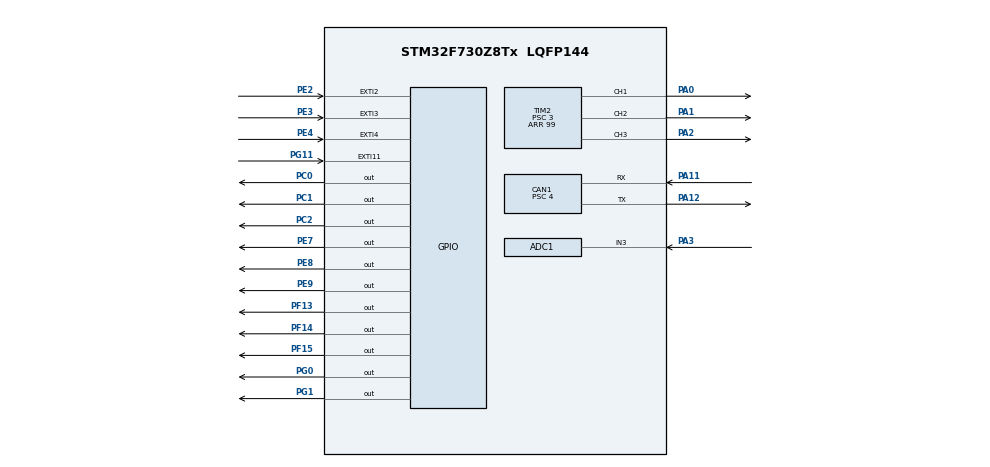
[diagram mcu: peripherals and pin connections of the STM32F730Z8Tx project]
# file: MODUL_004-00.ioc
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ADC1.Channel-0\#ChannelRegularConversion=ADC_CHANNEL_3
ADC1.NbrOfConversionFlag=1
ADC1.Rank-0\#ChannelRegularConversion=1
ADC1.SamplingTime-0\#ChannelRegularConversion=ADC_SAMPLETIME_3CYCLES
ADC1.master=1
CAN1.BS1=CAN_BS1_13TQ
CAN1.BS2=CAN_BS2_2TQ
CAN1.CalculateBaudRate=250000
CAN1.CalculateTimeBit=4000
CAN1.CalculateTimeQuantum=250.0
CAN1.Prescaler=4
Mcu.Family=STM32F7
Mcu.Name=STM32F730Z8Tx
Mcu.Package=LQFP144
NVIC.CAN1_RX0_IRQn=true\:0\:0\:false\:false\:true\:true\:true\:true
NVIC.CAN1_TX_IRQn=true\:0\:0\:false\:false\:true\:true\:true\:true
NVIC.EXTI15_10_IRQn=true\:6\:0\:true\:false\:true\:true\:true\:true
NVIC.EXTI2_IRQn=true\:3\:0\:true\:false\:true\:true\:true\:true
NVIC.EXTI3_IRQn=true\:3\:0\:true\:false\:true\:true\:true\:true
NVIC.EXTI4_IRQn=true\:3\:0\:true\:false\:true\:true\:true\:true
NVIC.PriorityGroup=NVIC_PRIORITYGROUP_4
PA0-WKUP.Signal=S_TIM2_CH1_ETR
PA1.Signal=S_TIM2_CH2
PA11.Mode=CAN_Activate
PA11.Signal=CAN1_RX
PA12.Mode=CAN_Activate
PA12.Signal=CAN1_TX
PA13.Mode=Serial_Wire
PA13.Signal=SYS_JTMS-SWDIO
PA14.Mode=Serial_Wire
PA14.Signal=SYS_JTCK-SWCLK
PA2.Signal=S_TIM2_CH3
PA3.Signal=ADCx_IN3
PC0.Signal=GPIO_Output
PC1.Signal=GPIO_Output
PC2.Signal=GPIO_Output
PE2.GPIO_ModeDefaultEXTI=GPIO_MODE_IT_RISING_FALLING
PE2.Signal=GPXTI2
PE3.GPIO_ModeDefaultEXTI=GPIO_MODE_IT_RISING_FALLING
PE3.Signal=GPXTI3
PE4.GPIO_ModeDefaultEXTI=GPIO_MODE_IT_RISING_FALLING
PE4.Signal=GPXTI4
PE7.Signal=GPIO_Output
PE8.Signal=GPIO_Output
PE9.Signal=GPIO_Output
PF13.Signal=GPIO_Output
PF14.Signal=GPIO_Output
PF15.Signal=GPIO_Output
PG0.Signal=GPIO_Output
PG1.Signal=GPIO_Output
PG11.GPIO_PuPd=GPIO_PULLUP
PG11.Signal=GPXTI11
ProjectManager.HeapSize=0x200
ProjectManager.StackSize=0x400
ProjectManager.TargetToolchain=STM32CubeIDE
RCC.HSE_VALUE=25000000
RCC.HSI_VALUE=16000000
RCC.LSE_VALUE=32768
RCC.USBFreq_Value=96000000
RCC.VCOOutputFreq_Value=192000000
SH.ADCx_IN3.0=ADC1_IN3,IN3
SH.S_TIM2_CH1_ETR.0=TIM2_CH1,PWM Generation1 CH1
SH.S_TIM2_CH2.0=TIM2_CH2,PWM Generation2 CH2
SH.S_TIM2_CH3.0=TIM2_CH3,PWM Generation3 CH3
TIM2.Channel-PWM\ Generation1\ CH1=TIM_CHANNEL_1
TIM2.Channel-PWM\ Generation2\ CH2=TIM_CHANNEL_2
TIM2.Channel-PWM\ Generation3\ CH3=TIM_CHANNEL_3
TIM2.Period=99
TIM2.Prescaler=3
TIM3.Period=99
TIM3.Prescaler=15999
TIM4.Period=9999
TIM4.Prescaler=1599
TIM5.Period=3999999
TIM5.Prescaler=1
VP_TIM2_VS_ClockSourceINT.Mode=Internal
VP_TIM3_VS_ClockSourceINT.Mode=Internal
VP_TIM4_VS_ClockSourceINT.Mode=Internal
VP_TIM5_VS_ClockSourceINT.Mode=Internal
board=custom

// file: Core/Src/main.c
/* USER CODE BEGIN Header */
/**
  ******************************************************************************
  * @file           : main.c
  * @brief          : Main program body
  ******************************************************************************
  * @attention
  *
  * Copyright (c) 2025 STMicroelectronics.
  * All rights reserved.
  *
  * This software is licensed under terms that can be found in the LICENSE file
  * in the root directory of this software component.
  * If no LICENSE file comes with this software, it is provided AS-IS.
  *
  ******************************************************************************
  */
/* USER CODE END Header */
#include "main.h"
#include "adc.h"
#include "can.h"
#include "tim.h"
#include "gpio.h"

/* USER CODE BEGIN Includes */

#include "stm32f7xx_it.h"
/* USER CODE END Includes */

/* USER CODE BEGIN PD */

#define Default_PWM_value 0
#define Default_actuator_status 0b00100010
#define Default_PWM_scale_max 4000
#define Default_PWM_scale_min 100

/* USER CODE END PD */

/* USER CODE BEGIN PV */

uint8_t sequence = 0;
uint8_t actuator_status = 0b00100010; //LSB - "is running" status, 2nd from last bit - "needs starting" status, 3rd from last bit - "PWM is present" status, 4th from last bit - "needs stopping" status, 5th from last bit - "actuator direction" status (normal = 1, reverse = 0), 6th from last bit - "turn of or on" - high on
uint8_t direction = 0b00000000; //LSB high --> current reverse direction
uint8_t coil_status = 0b00000000; //LSB - coil A, 2nd from last - coil B, 3rd from last - coil C
uint8_t coil_old_status = 0b00000000;
uint8_t last_change = 0b00000000; //from LSB to MSB ---> A-fall, A-rise, B-fall, B-rise, C-fall, C-rise

uint8_t digital_outputs = 0b00000000; //for 8 LED
uint8_t digital_old_outputs = 0b00000000; //used so that digital outputs change only if they need to

uint8_t tim_3_status = 0b00000000; //for communication - dont want transmit messages too fast - unused
uint8_t tim_4_status = 0b00000000; //for regulators - unused
uint8_t tim_5_status = 0b00000000; //MSB - timer on or off status, the rest is used for flags - used to count period between interrupts

uint16_t PWM_old_input = 0;
uint16_t PWM_input = 0; //PWM input
uint16_t PWM_value = 0; //scaled PWM input, desired PWM output (if regulators are present, they try to achieve that value)
uint16_t PWM_current_value = 0; //PWM output
uint16_t PWM_old_value = 0; //last PWM output
uint16_t ADC1_value; //ADC1 saves converted value inside this variable

uint32_t current = 0; //processed ADC1_value, in mA
uint32_t counter_1 = 0; //used to count time between interrupts (can be used to calculate speed if specs of actuator are know)
uint32_t counter_2 = 0; //used to count time between CAN bus messages - unused
uint32_t counter_3 = 0; //unused

uint32_t mils_current = 0; //ms counter for debouncing
uint32_t mils_old = 0;

//KTM CAN bus communication
uint8_t msg_flag = 0b00000000; // LSB - need to send data, 2nd from last - need to process received data, 3rd from last - there is received data, 4th from last - need to send request for data(not used on this module)

//KTM end
/* USER CODE END PV */

void SystemClock_Config(void);

/* USER CODE BEGIN 0 */

//KTM

//CAN bus Tx config
CAN_TxHeaderTypeDef TxHeader;
uint32_t TxMailBox;
uint8_t TxData[8] = {0};

//CAN bus Rx config
CAN_FilterTypeDef sFilterConfig;
CAN_RxHeaderTypeDef RxHeader;
uint8_t RxData[8] = {0};

void HAL_CAN_RxFifo0MsgPendingCallback(CAN_HandleTypeDef *hcan)
{
	HAL_CAN_GetRxMessage(hcan, CAN_RX_FIFO0, &RxHeader, RxData);

	msg_flag = msg_flag || 0b00000100; //when Rx interrupt is activated, change flag - there is data that needs to be processed

}

//KTM end

/* USER CODE END 0 */

int main(void)
{

  /* MCU Configuration--------------------------------------------------------*/

  /* Reset of all peripherals, Initializes the Flash interface and the Systick. */
  HAL_Init();

  /* Configure the system clock */
  SystemClock_Config();

  /* Initialize all configured peripherals */
  MX_GPIO_Init();
  MX_ADC1_Init();
  MX_CAN1_Init();
  MX_TIM2_Init();
  MX_TIM3_Init();
  MX_TIM4_Init();
  MX_TIM5_Init();
  /* USER CODE BEGIN 2 */

  //KTM
  HAL_CAN_Start(&hcan1);

  //CAN bus Tx config
  TxHeader.DLC = 8;
  TxHeader.IDE = CAN_ID_STD;
  TxHeader.RTR = CAN_RTR_DATA;
  TxHeader.StdId = 255;

  //CAN bus Rx config
  sFilterConfig.FilterBank = 0;
  sFilterConfig.FilterIdLow = 0;
  sFilterConfig.FilterIdHigh = 0;
  sFilterConfig.FilterMaskIdLow = 0;
  sFilterConfig.FilterMaskIdHigh = 0;
  sFilterConfig.FilterMode = CAN_FILTERMODE_IDMASK;
  sFilterConfig.FilterScale = CAN_FILTERSCALE_32BIT;
  sFilterConfig.FilterActivation = CAN_FILTER_ENABLE;
  sFilterConfig.FilterFIFOAssignment = CAN_FILTER_FIFO0;

  HAL_CAN_ConfigFilter(&hcan1, &sFilterConfig);
  HAL_CAN_ActivateNotification(&hcan1, CAN_IT_RX_FIFO1_MSG_PENDING);

  //KTM end

  /* USER CODE END 2 */

  /* Infinite loop */
  /* USER CODE BEGIN WHILE */
  while (1)
  {

	  //ADC get data
	  HAL_ADC_Start(&hadc1);
	  HAL_ADC_PollForConversion(&hadc1, 10); //do ADC every 10 ms

	  ADC1_value = HAL_ADC_GetValue(&hadc1);

	  //process ADC1 data
	  //reference voltage == 4096 milivolts
	  if (ADC1_value == 1650) //current sensor TCSM1123B5   --> 1.65V == 0A
	  {
		  current = 0;
	  }

	  //current sensor sensitivity == 150 mV/A
	  else if (ADC1_value > 1650)
	  {
		  current = (int)((float)((ADC1_value - 1650) * 1000) / 150); //current in mA
		  direction = direction && 0b11111110; //normal direction of current
	  }
	  else
	  {
		  current = (int)((float)((1650 - ADC1_value) * 1000) / 150); //current in mA
		  direction = direction || 0b00000001; //reverse direction of current
	  }

	  //KTM
	  //CAN bus data
	  //process CAN data
	  if (msg_flag >> 2) //there is unprocessed received data
	  {
		  if (RxData[0] >> 1) //last 4 bits of RxData[0] high ---> needs to send data
		  {
			  msg_flag = msg_flag || 0b00000001;
		  }

		  if (RxData[0] >> 5) //first 4 bits of RxData[0] high ---> there is received data
		  {
			  msg_flag = msg_flag || 0b00000010;
		  }

		  msg_flag = msg_flag &&11111011; //reset flag
	  }

	  if (msg_flag >> 1) //if there is received data, process it
	  {
		  if (RxData[1] >> 1) //actuator direction is set to normal
		  {
			  actuator_status = actuator_status || 0b00010000;
		  }
		  else //actuator direction is set to reverse
		  {
			  actuator_status = actuator_status && 0b11101111;
		  }

		  if (RxData[1] >> 5) //actuator is turned
		  {
			  actuator_status = actuator_status || 0b00100000;
		  }
		  else //actuator turned off
		  {
			  actuator_status = actuator_status && 0b11011111;
		  }

		  //PWM_input = 0;
		  PWM_input = RxData[6];
		  //PWM_input = PWM_input << 8;
		  //PWM_input = PWM_input || RxData[7]

		  msg_flag = msg_flag && 0b11111101; //there is no more need to process data
		  RxData[0] = 0; //set array to 0
		  RxData[1] = 0;
		  RxData[2] = 0;
		  RxData[3] = 0;
		  RxData[4] = 0;
		  RxData[5] = 0;
		  RxData[6] = 0;
		  RxData[7] = 0;
	  }

	  //KTM end

	  //process PWM
	  if (PWM_input != PWM_old_input) //there are changes to PWM_input value, recalculate
	  {
		  if (PWM_input < 100)
		  {
			  PWM_value = 0;
			  actuator_status = actuator_status && 0b11111011; //PWM is not present
			  actuator_status = actuator_status || 0b00001000; //actuator needs stopping
		  }

		  //if PWM is more than 100 then actuator status is set to running and PWM status is present
		  else if (PWM_input > 4000)
		  {
			  PWM_value = 100;
			  actuator_status = actuator_status || 0b00000101; //actuator is running and has PWM
		  }
		  else if (PWM_input > 4000)
		  {
			  PWM_value = (int)((float)((PWM_input-100)/3900)*100); // scale 100==0, 4000==100
			  actuator_status = actuator_status || 0b00000101; //actuator is running and has PWM
		  }
	  }

	  //actuator control

	  //running actuator
	  if ((actuator_status >> 2) && actuator_status && (actuator_status >> 5)) //actuator status is set to running, PWM is present and actuator is turned on
	  {
		  //start sequence
		  //does starting sequence until interrupts set "needs starting" status to low
		  if (actuator_status >> 1) //actuator needs starting
		  {
			  //start and reset timer 5 if not on
			  restart_tim_5();

			  //set coil B to GND and turn on PWM on coil A
			  if (last_change == 0b00000000)
			  {
				  AHigh_BLow(10); //PWM value is set to 10 (100max)
			  }
			  PWM_old_value = 10;
		  }

		  //running sequence
		  else
		  {
			  //regulator implementation
			  PWM_current_value = PWM_value;
			  //no regulator :)

			  if (!(actuator_status >> 4)) //normal direction
			  {
				  forward_sequence();
			  }
			  else //reverse direction
			  {
				  backward_sequence();
			  }

			  PWM_old_value = PWM_current_value;
		  }
	  }

	  //actuator is stopping
	  else if((actuator_status && (!(actuator_status >> 1)) && (!(actuator_status >> 2))) || (actuator_status && (!(actuator_status >> 5)))) //(actuator is running, doesnt need starting and PWM is not present) or (actuator is running but it is supposed to be turned off)
	  {
		  //disconnect power to actuator coils
		  __HAL_TIM_SET_COMPARE(&htim2, TIM_CHANNEL_1, 0); //PWM coil A
		  __HAL_TIM_SET_COMPARE(&htim2, TIM_CHANNEL_2, 0); //PWM coil B
		  __HAL_TIM_SET_COMPARE(&htim2, TIM_CHANNEL_3, 0); //PWM coil C

		  HAL_TIM_PWM_Start(&htim2, TIM_CHANNEL_1);
		  HAL_TIM_PWM_Start(&htim2, TIM_CHANNEL_2);
		  HAL_TIM_PWM_Start(&htim2, TIM_CHANNEL_3);

		  //connect actuator coils to GND
		  HAL_GPIO_WritePin(GPIOC, GPIO_PIN_0, 1); //GND coil A
		  HAL_GPIO_WritePin(GPIOC, GPIO_PIN_1, 1); //GND coil B
		  HAL_GPIO_WritePin(GPIOC, GPIO_PIN_2, 1); //GND coil C

		  PWM_old_value = 0;
	  }

	  //actuator is not active
	  else
	  {
		  if ((tim_5_status >> 7) && (!tim_5_status)) //if timer 5 is on and flag is not set
		  {
			  //0.5s after it stopped moving
			  if (__HAL_TIM_GET_COUNTER(&htim5) == htim5.Init.Period)
			  {
				  actuator_status = actuator_status && 0b11111110; //change actuator status "is running" status to low
				  actuator_status = actuator_status || 0b00000010; //change actuator status "needs starting" status to high

				  //turn of timer 5 and reset timer
				  HAL_TIM_Base_Stop(&htim5);
				  __HAL_TIM_GET_COUNTER(&htim5) = 0;

				  //disconnect remaining connections to actuator coils
				  HAL_GPIO_WritePin(GPIOC, GPIO_PIN_0, 0); //GND coil A
				  HAL_GPIO_WritePin(GPIOC, GPIO_PIN_1, 0); //GND coil B
				  HAL_GPIO_WritePin(GPIOC, GPIO_PIN_2, 0); //GND coil C

				  last_change = 0b00000000; //for starting sequence

				  tim_5_status = tim_5_status || 0b00000001; //put flag so it doesnt do this action each cycle
				  tim_5_status = tim_5_status && 0b01111111; //change timer status to inactive

				  PWM_old_value = 0;
			  }
		  }
	  }

	  //turn 8 LEDS on/off
	  //process PWM value to digital outputs
	  if (PWM_input != PWM_old_input)
	  {
		  if (PWM_value == 0)
		  {
			  digital_outputs = 0;
		  }
		  else
		  {
			  switch ((int)((float)((PWM_value + 12.5) /12.5)))
			  {
			  case 1:
				  digital_outputs = 0b00000001;
				  break;
			  case 2:
				  digital_outputs = 0b00000011;
				  break;
			  case 3:
				  digital_outputs = 0b00000111;
				  break;
			  case 4:
				  digital_outputs = 0b00001111;
				  break;
			  case 5:
				  digital_outputs = 0b00011111;
				  break;
			  case 6:
				  digital_outputs = 0b00111111;
				  break;
			  case 7:
				  digital_outputs = 0b01111111;
				  break;
			  case 8:
				  digital_outputs = 0b11111111;
				  break;
			  }
		  }

		  //set changes to LEDs (if there are any changes)
		  if (digital_outputs != digital_old_outputs)
		  {
			  HAL_GPIO_WritePin(GPIOF, GPIO_PIN_13, digital_outputs >> 0);
			  HAL_GPIO_WritePin(GPIOF, GPIO_PIN_14, digital_outputs >> 1);
			  HAL_GPIO_WritePin(GPIOF, GPIO_PIN_15, digital_outputs >> 2);
			  HAL_GPIO_WritePin(GPIOG, GPIO_PIN_0, digital_outputs >> 3);
			  HAL_GPIO_WritePin(GPIOG, GPIO_PIN_1, digital_outputs >> 4);
			  HAL_GPIO_WritePin(GPIOE, GPIO_PIN_7, digital_outputs >> 5);
			  HAL_GPIO_WritePin(GPIOE, GPIO_PIN_8, digital_outputs >> 6);
			  HAL_GPIO_WritePin(GPIOE, GPIO_PIN_9, digital_outputs >> 7);

			  digital_old_outputs = digital_outputs;
		  }
	  }

	  PWM_old_input = PWM_input;

	  //KTM
	  //CAN bus data
	  //send CAN data
	  if (msg_flag) //there is data to be sent
	  {
		  TxData[0] = 0b11110000; //package contains data

		  TxData[1] = 0b00000000;
		  if (actuator_status >> 4)
		  {
			  TxData[1] = TxData[1] || 0b00000011; //actuator normal direction
		  }
		  if (!(direction))
		  {
			  TxData[1] = TxData[1] || 0b00001100; //current reverse direction
		  }
		  if (actuator_status >> 5)
		  {
			  TxData[1] = TxData[1] || 0b00110000; //actuator is on
		  }

		  TxData[2] = current; //TxData 2,3,4,5 (32 bit number)

		  TxData[6] = ((PWM_value/100) * 3900 + 100); //scale 0-100 ---> 100-4000

		  HAL_CAN_AddTxMessage(&hcan1, &TxHeader, TxData, &TxMailBox);
		  msg_flag = msg_flag && 0b11111110; //there is no more need to send data

		  TxData[0] = 0; //set array to 0
		  TxData[1] = 0;
		  TxData[2] = 0;
		  TxData[3] = 0;
		  TxData[4] = 0;
		  TxData[5] = 0;
		  TxData[6] = 0;
		  TxData[7] = 0;

	  }

	  //KTM end

    /* USER CODE END WHILE */

  }
}

void SystemClock_Config(void)
{
  RCC_OscInitTypeDef RCC_OscInitStruct = {0};
  RCC_ClkInitTypeDef RCC_ClkInitStruct = {0};

  /** Configure the main internal regulator output voltage
  */
  __HAL_RCC_PWR_CLK_ENABLE();
  __HAL_PWR_VOLTAGESCALING_CONFIG(PWR_REGULATOR_VOLTAGE_SCALE3);

  /** Initializes the RCC Oscillators according to the specified parameters
  * in the RCC_OscInitTypeDef structure.
  */
  RCC_OscInitStruct.OscillatorType = RCC_OSCILLATORTYPE_HSI;
  RCC_OscInitStruct.HSIState = RCC_HSI_ON;
  RCC_OscInitStruct.HSICalibrationValue = RCC_HSICALIBRATION_DEFAULT;
  RCC_OscInitStruct.PLL.PLLState = RCC_PLL_NONE;
  if (HAL_RCC_OscConfig(&RCC_OscInitStruct) != HAL_OK)
  {
    Error_Handler();
  }

  /** Initializes the CPU, AHB and APB buses clocks
  */
  RCC_ClkInitStruct.ClockType = RCC_CLOCKTYPE_HCLK|RCC_CLOCKTYPE_SYSCLK
                              |RCC_CLOCKTYPE_PCLK1|RCC_CLOCKTYPE_PCLK2;
  RCC_ClkInitStruct.SYSCLKSource = RCC_SYSCLKSOURCE_HSI;
  RCC_ClkInitStruct.AHBCLKDivider = RCC_SYSCLK_DIV1;
  RCC_ClkInitStruct.APB1CLKDivider = RCC_HCLK_DIV1;
  RCC_ClkInitStruct.APB2CLKDivider = RCC_HCLK_DIV1;

  if (HAL_RCC_ClockConfig(&RCC_ClkInitStruct, FLASH_LATENCY_0) != HAL_OK)
  {
    Error_Handler();
  }
}

/* USER CODE BEGIN 4 */
void forward_sequence()
{
	if ((last_change != 0b11111111))
	{
		switch (last_change)
		{
		case 0b00000001: //A fall
			AHigh_BLow(PWM_current_value);
			last_change = 0b11111111;// change variable once PWM and GND pins are set so it doesnt do it on every cycle
			break;
		case 0b00000010: //A rise
			BHigh_ALow(PWM_current_value);
			last_change = 0b11111111;// change variable once PWM and GND pins are set so it doesnt do it on every cycle
			break;
		case 0b00000100: //B fall
			BHigh_CLow(PWM_current_value);
			last_change = 0b11111111;// change variable once PWM and GND pins are set so it doesnt do it on every cycle
			break;
		case 0b00001000: //B rise
			CHigh_BLow(PWM_current_value);
			last_change = 0b11111111;// change variable once PWM and GND pins are set so it doesnt do it on every cycle
			break;
		case 0b00010000: //C fall
			CHigh_ALow(PWM_current_value);
			last_change = 0b11111111;// change variable once PWM and GND pins are set so it doesnt do it on every cycle
			break;
		case 0b00100000: //C rise
			AHigh_CLow(PWM_current_value);
			last_change = 0b11111111;// change variable once PWM and GND pins are set so it doesnt do it on every cycle
			break;
		}
	}
}

void backward_sequence()
{
	if (last_change != 0b11111111)
	{
		switch (last_change)
		{
		case 0b00000001: //A fall
			CHigh_ALow(PWM_current_value);
			last_change = 0b11111111;// change variable once PWM and GND pins are set so it doesnt do it on every cycle
			break;
		case 0b00000010: //A rise
			AHigh_CLow(PWM_current_value);
			last_change = 0b11111111;// change variable once PWM and GND pins are set so it doesnt do it on every cycle
			break;
		case 0b00000100: //B fall
			AHigh_BLow(PWM_current_value);
			last_change = 0b11111111;// change variable once PWM and GND pins are set so it doesnt do it on every cycle
			break;
		case 0b00001000: //B rise
			BHigh_ALow(PWM_current_value);
			last_change = 0b11111111;// change variable once PWM and GND pins are set so it doesnt do it on every cycle
			break;
		case 0b00010000: //C fall
			BHigh_CLow(PWM_current_value);
			last_change = 0b11111111;// change variable once PWM and GND pins are set so it doesnt do it on every cycle
			break;
		case 0b00100000: //C rise
			CHigh_BLow(PWM_current_value);
			last_change = 0b11111111;// change variable once PWM and GND pins are set so it doesnt do it on every cycle
			break;
		}
	}
}

void AHigh_BLow(uint16_t PWM)
{
	__HAL_TIM_SET_COMPARE(&htim2, TIM_CHANNEL_1, PWM); //PWM coil A
	__HAL_TIM_SET_COMPARE(&htim2, TIM_CHANNEL_2, 0); //PWM coil B
	__HAL_TIM_SET_COMPARE(&htim2, TIM_CHANNEL_3, 0); //PWM coil C

	HAL_TIM_PWM_Start(&htim2, TIM_CHANNEL_1);
	HAL_TIM_PWM_Start(&htim2, TIM_CHANNEL_2);
	HAL_TIM_PWM_Start(&htim2, TIM_CHANNEL_3);

	HAL_GPIO_WritePin(GPIOC, GPIO_PIN_0, 0); //GND coil A
	HAL_GPIO_WritePin(GPIOC, GPIO_PIN_1, 1); //GND coil B
	HAL_GPIO_WritePin(GPIOC, GPIO_PIN_2, 0); //GND coil C
}
void AHigh_CLow(uint16_t PWM)
{
	__HAL_TIM_SET_COMPARE(&htim2, TIM_CHANNEL_1, PWM); //PWM coil A
	__HAL_TIM_SET_COMPARE(&htim2, TIM_CHANNEL_2, 0); //PWM coil B
	__HAL_TIM_SET_COMPARE(&htim2, TIM_CHANNEL_3, 0); //PWM coil C

	HAL_TIM_PWM_Start(&htim2, TIM_CHANNEL_1);
	HAL_TIM_PWM_Start(&htim2, TIM_CHANNEL_2);
	HAL_TIM_PWM_Start(&htim2, TIM_CHANNEL_3);

	HAL_GPIO_WritePin(GPIOC, GPIO_PIN_0, 0); //GND coil A
	HAL_GPIO_WritePin(GPIOC, GPIO_PIN_1, 0); //GND coil B
	HAL_GPIO_WritePin(GPIOC, GPIO_PIN_2, 1); //GND coil C
}
void BHigh_ALow(uint16_t PWM)
{
	__HAL_TIM_SET_COMPARE(&htim2, TIM_CHANNEL_1, 0); //PWM coil A
	__HAL_TIM_SET_COMPARE(&htim2, TIM_CHANNEL_2, PWM); //PWM coil B
	__HAL_TIM_SET_COMPARE(&htim2, TIM_CHANNEL_3, 0); //PWM coil C

	HAL_TIM_PWM_Start(&htim2, TIM_CHANNEL_1);
	HAL_TIM_PWM_Start(&htim2, TIM_CHANNEL_2);
	HAL_TIM_PWM_Start(&htim2, TIM_CHANNEL_3);

	HAL_GPIO_WritePin(GPIOC, GPIO_PIN_0, 1); //GND coil A
	HAL_GPIO_WritePin(GPIOC, GPIO_PIN_1, 0); //GND coil B
	HAL_GPIO_WritePin(GPIOC, GPIO_PIN_2, 0); //GND coil C
}
void BHigh_CLow(uint16_t PWM)
{
	__HAL_TIM_SET_COMPARE(&htim2, TIM_CHANNEL_1, 0); //PWM coil A
	__HAL_TIM_SET_COMPARE(&htim2, TIM_CHANNEL_2, PWM); //PWM coil B
	__HAL_TIM_SET_COMPARE(&htim2, TIM_CHANNEL_3, 0); //PWM coil C

	HAL_TIM_PWM_Start(&htim2, TIM_CHANNEL_1);
	HAL_TIM_PWM_Start(&htim2, TIM_CHANNEL_2);
	HAL_TIM_PWM_Start(&htim2, TIM_CHANNEL_3);

	HAL_GPIO_WritePin(GPIOC, GPIO_PIN_0, 0); //GND coil A
	HAL_GPIO_WritePin(GPIOC, GPIO_PIN_1, 0); //GND coil B
	HAL_GPIO_WritePin(GPIOC, GPIO_PIN_2, 1); //GND coil C
}
void CHigh_ALow(uint16_t PWM)
{
	__HAL_TIM_SET_COMPARE(&htim2, TIM_CHANNEL_1, 0); //PWM coil A
	__HAL_TIM_SET_COMPARE(&htim2, TIM_CHANNEL_2, 0); //PWM coil B
	__HAL_TIM_SET_COMPARE(&htim2, TIM_CHANNEL_3, PWM); //PWM coil C

	HAL_TIM_PWM_Start(&htim2, TIM_CHANNEL_1);
	HAL_TIM_PWM_Start(&htim2, TIM_CHANNEL_2);
	HAL_TIM_PWM_Start(&htim2, TIM_CHANNEL_3);

	HAL_GPIO_WritePin(GPIOC, GPIO_PIN_0, 1); //GND coil A
	HAL_GPIO_WritePin(GPIOC, GPIO_PIN_1, 0); //GND coil B
	HAL_GPIO_WritePin(GPIOC, GPIO_PIN_2, 0); //GND coil C
}
void CHigh_BLow(uint16_t PWM)
{
	__HAL_TIM_SET_COMPARE(&htim2, TIM_CHANNEL_1, 0); //PWM coil A
	__HAL_TIM_SET_COMPARE(&htim2, TIM_CHANNEL_2, 0); //PWM coil B
	__HAL_TIM_SET_COMPARE(&htim2, TIM_CHANNEL_3, PWM); //PWM coil C

	HAL_TIM_PWM_Start(&htim2, TIM_CHANNEL_1);
	HAL_TIM_PWM_Start(&htim2, TIM_CHANNEL_2);
	HAL_TIM_PWM_Start(&htim2, TIM_CHANNEL_3);

	HAL_GPIO_WritePin(GPIOC, GPIO_PIN_0, 0); //GND coil A
	HAL_GPIO_WritePin(GPIOC, GPIO_PIN_1, 1); //GND coil B
	HAL_GPIO_WritePin(GPIOC, GPIO_PIN_2, 0); //GND coil C
}

void restart_tim_3()
{
	if (!(tim_3_status >> 7)) //if timer is off, start it
	{
		HAL_TIM_Base_Start(&htim3);
		tim_3_status = tim_3_status || 0b1000000;
	}
	if (__HAL_TIM_GET_COUNTER(&htim3) != 0) //if timer counter is not 0, reset it
	{
		__HAL_TIM_GET_COUNTER(&htim3) = 0;
	}
}

void restart_tim_4()
{
	if (!(tim_4_status >> 7))//if timer is off, start it
	{
		HAL_TIM_Base_Start(&htim4);
		tim_4_status = tim_4_status || 0b1000000;
	}
	if (__HAL_TIM_GET_COUNTER(&htim4) != 0)//if timer counter is not 0, reset it
	{
		__HAL_TIM_GET_COUNTER(&htim4) = 0;
	}
}

void restart_tim_5()
{
	if (!(tim_5_status >> 7))//if timer is off, start it
	{
		HAL_TIM_Base_Start(&htim5);
		tim_5_status = tim_5_status || 0b1000000;
	}
	if (__HAL_TIM_GET_COUNTER(&htim5) != 0)//if timer counter is not 0, reset it
	{
		__HAL_TIM_GET_COUNTER(&htim5) = 0;
	}
}

void check_coil_status() //used in interrupts
{
	  //read pin PE2 (coil A)
	  switch(HAL_GPIO_ReadPin(GPIOE, GPIO_PIN_2))
	  {
	  case 0:
		  coil_status = coil_status && 0b11111110; //status of coil A is lower than COM
		  break;
	  case 1:
		  coil_status = coil_status || 0b00000001; //status of coil A is higher than COM
		  break;
	  }

	  //read pin PE3 (coil B)
	  switch(HAL_GPIO_ReadPin(GPIOE,GPIO_PIN_3))
	  {
	  case 0:
		  coil_status = coil_status && 0b11111101; //status of coil B is lower than COM
		  break;
	  case 1:
		  coil_status = coil_status || 0b00000010; //status of coil B is higher than COM
		  break;
	  }

	  //read pin PE4 (coil C)
	  switch(HAL_GPIO_ReadPin(GPIOE,GPIO_PIN_3))
	  {
	  case 0:
		  coil_status = coil_status && 0b11111011; //status of coil C is lower than COM
		  break;
	  case 1:
		  coil_status = coil_status || 0b00000100; //status of coil C is higher than COM
		  break;
	  }

}

void find_change(uint8_t num) //used in interrupts
{
	switch (num)
	{
	case 0x0A:
		if(coil_status) //if current coil A status is high
		{
			last_change = 0b00000010; //coil A rise
		}
		else
		{
			last_change = 0b00000001; //coil A fall
		}
		break;
	case 0x0B: //if current coil B status is high
		if(coil_status>>1)
		{
			last_change = 0b00001000; //coil B rise
		}
		else
		{
			last_change = 0b00000100; //coil B fall
		}
		break;
	case 0x0C: //if current coil C status is high
		if(coil_status>>2)
		{
			last_change = 0b00100000; //coil C rise
		}
		else
		{
			last_change = 0b00010000; //coil C fall
		}
		break;
	}
	coil_old_status = coil_status;

}

void check_actuator_status() //used in interrupts
{
	if(actuator_status >> 1)// if actuator "needs starting" status is high, change it to low
	{
		actuator_status = actuator_status && 0b11111101;
	}
}

//interrupts
void HAL_GPIO_EXTI_Callback(uint16_t GPIO_Pin) //interrupt callback function
{
	GPIO_InitTypeDef GPIO_InitStructPrivate = {0};
	switch(GPIO_Pin)
	{
	case GPIO_PIN_2: //interrupt on coil A

		// switch from interrupt to input
		GPIO_InitStructPrivate.Pin = GPIO_PIN_2|GPIO_PIN_3|GPIO_PIN_4;
		GPIO_InitStructPrivate.Mode = GPIO_MODE_INPUT;
		GPIO_InitStructPrivate.Pull = GPIO_NOPULL;
		GPIO_InitStructPrivate.Speed = GPIO_SPEED_FREQ_LOW;
		HAL_GPIO_Init(GPIOE, &GPIO_InitStructPrivate);

		check_coil_status();
		find_change(0x0A);// find out if its rising or falling edge

		//if interrupt is activated, actuator is moving -> "needs starting" status change to low
		check_actuator_status();

		//get time interval between interrupts (can be used to calculate speed)
		counter_2 = __HAL_TIM_GET_COUNTER(&htim5);
		restart_tim_5();

		//switch from input to interrupt
		GPIO_InitStructPrivate.Pin = GPIO_PIN_2|GPIO_PIN_3|GPIO_PIN_4;
		GPIO_InitStructPrivate.Mode = GPIO_MODE_IT_RISING_FALLING;
		GPIO_InitStructPrivate.Pull = GPIO_NOPULL;
		HAL_GPIO_Init(GPIOE, &GPIO_InitStructPrivate);

		break;
	case GPIO_PIN_3: //interrupt on coil B
		// switch from interrupt to input
		GPIO_InitStructPrivate.Pin = GPIO_PIN_2|GPIO_PIN_3|GPIO_PIN_4;
		GPIO_InitStructPrivate.Mode = GPIO_MODE_INPUT;
		GPIO_InitStructPrivate.Pull = GPIO_NOPULL;
		GPIO_InitStructPrivate.Speed = GPIO_SPEED_FREQ_LOW;
		HAL_GPIO_Init(GPIOE, &GPIO_InitStructPrivate);

		check_coil_status();
		find_change(0x0B);// find out if its rising or falling edge

		//if interrupt is activated, actuator is moving -> "needs starting" status change to low
		check_actuator_status();

		//get time interval between interrupts (can be used to calculate speed)
		counter_2 = __HAL_TIM_GET_COUNTER(&htim5);
		restart_tim_5();

		//switch from input to interrupt
		GPIO_InitStructPrivate.Pin = GPIO_PIN_2|GPIO_PIN_3|GPIO_PIN_4;
		GPIO_InitStructPrivate.Mode = GPIO_MODE_IT_RISING_FALLING;
		GPIO_InitStructPrivate.Pull = GPIO_NOPULL;
		HAL_GPIO_Init(GPIOE, &GPIO_InitStructPrivate);

		break;
	case GPIO_PIN_4:  //interrupt on coil C
		// switch from interrupt to input
		GPIO_InitStructPrivate.Pin = GPIO_PIN_2|GPIO_PIN_3|GPIO_PIN_4;
		GPIO_InitStructPrivate.Mode = GPIO_MODE_INPUT;
		GPIO_InitStructPrivate.Pull = GPIO_NOPULL;
		GPIO_InitStructPrivate.Speed = GPIO_SPEED_FREQ_LOW;
		HAL_GPIO_Init(GPIOE, &GPIO_InitStructPrivate);

		check_coil_status();
		find_change(0x0C);// find out if its rising or falling edge

		//if interrupt is activated, actuator is moving -> "needs starting" status change to low
		check_actuator_status();

		//get time interval between interrupts (can be used to calculate speed)
		counter_2 = __HAL_TIM_GET_COUNTER(&htim5);
		restart_tim_5();

		//switch from input to interrupt
		GPIO_InitStructPrivate.Pin = GPIO_PIN_2|GPIO_PIN_3|GPIO_PIN_4;
		GPIO_InitStructPrivate.Mode = GPIO_MODE_IT_RISING_FALLING;
		GPIO_InitStructPrivate.Pull = GPIO_NOPULL;
		HAL_GPIO_Init(GPIOE, &GPIO_InitStructPrivate);

		break;
	case GPIO_PIN_11: //interrupt on push button
		//button debouncing
		mils_current = HAL_GetTick();
		if (mils_current - mils_old > 10)
		{
			// switch from interrupt to input
			GPIO_InitStructPrivate.Pin = GPIO_PIN_11;
			GPIO_InitStructPrivate.Mode = GPIO_MODE_INPUT;
			GPIO_InitStructPrivate.Pull = GPIO_NOPULL;
			GPIO_InitStructPrivate.Speed = GPIO_SPEED_FREQ_LOW;
			HAL_GPIO_Init(GPIOG, &GPIO_InitStructPrivate);

			//read button state
			//HAL_GPIO_ReadPin(GPIOG, GPIO_PIN_11);

			if (HAL_GPIO_ReadPin(GPIOG, GPIO_PIN_11))
			{
				if (actuator_status >> 5) //actuator is turned on, turn it off
				{
					actuator_status = actuator_status && 0b11011111;
				}
				else //turn it on
				{
					actuator_status = actuator_status || 0b00100000;
				}
			}

			//switch form input to interrupt
			GPIO_InitStructPrivate.Pin = GPIO_PIN_11;
			GPIO_InitStructPrivate.Mode = GPIO_MODE_IT_RISING;
			GPIO_InitStructPrivate.Pull = GPIO_PULLDOWN;
			HAL_GPIO_Init(GPIOG, &GPIO_InitStructPrivate);

			mils_current = 0;
			mils_old = 0;

		}
		break;
	}
}

/* USER CODE END 4 */

void Error_Handler(void)
{
  __disable_irq();
  while (1)
  {
  }
}
